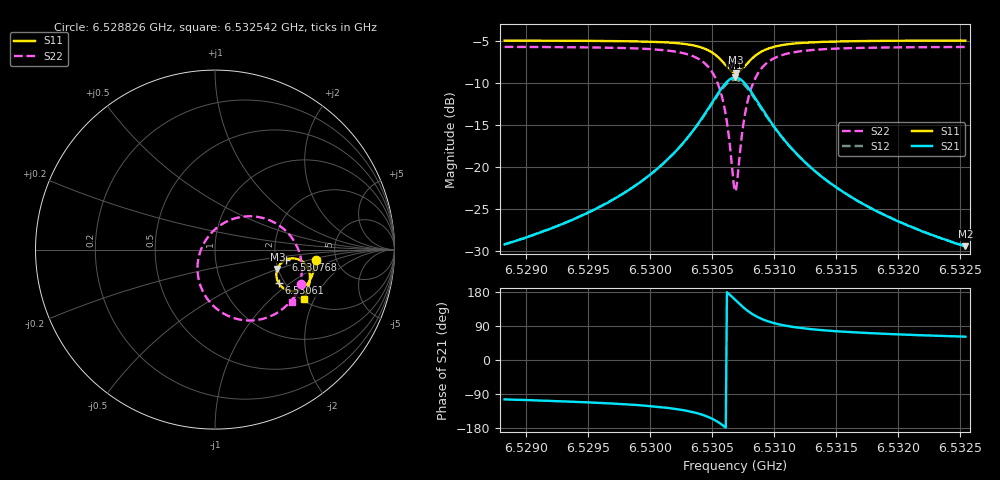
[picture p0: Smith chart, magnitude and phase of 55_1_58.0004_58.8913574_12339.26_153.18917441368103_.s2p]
#  HZ  S  RI  R  50.00
! Rohde & Schwarz Vector Network Analyzer
! Rohde-Schwarz,ZNB20-2Port,1311601062101988,3.16
! Created: UTC 3/21/2024, 12:52:44 AM
! freq[Hz]  re:S11  im:S11  re:S21  im:S21  re:S12  im:S12  re:S22  im:S22
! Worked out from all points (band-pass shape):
!   401 points, 6.528826 GHz to 6.532542 GHz, reference 50 ohm
!   highest |S21| = -9.36 dB at 6.530684 GHz (marker M1); lowest = -29.5 dB at 6.532542 GHz (marker M2)
!   |S21| within 3 dB of the highest: 6.5305 GHz to 6.530871 GHz (371.7 kHz wide, 0.00569 % of centre)
!   lowest |S11| = -8.8 dB at 6.530694 GHz (marker M3), VSWR 2.14, Z = 99.3 - j24.6 ohm
!   |S11| at or under -10 dB: nowhere
!   |S22| runs from -22.9 to -5.7 dB; largest |S21 - S12| = 0.015
!   S11 on the Smith chart (normalised r, x): 6.528826 GHz: 3.47, -0.59; 6.53061 GHz: 1.86, -0.83; 6.530768 GHz: 2.29, -0.31; 6.532542 GHz: 2.06, -1.66
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6.528826e9  0.5607 -0.0584  -0.00826 -0.0335  -0.0091 -0.0333  0.4816 -0.1895
6.5294485e9  0.5512 -0.1121  -0.0184 -0.0478  -0.0197 -0.0474  0.449 -0.2514
6.529783e9  0.5406 -0.1451  -0.0311 -0.062  -0.0327 -0.0612  0.416 -0.2944
6.530071e9  0.5236 -0.1791  -0.0553 -0.0824  -0.0576 -0.0808  0.3611 -0.3426
6.530294e9  0.4935 -0.2111  -0.1018 -0.1055  -0.105 -0.1018  0.2675 -0.3856
6.5304519e9  0.4444 -0.2305  -0.1805 -0.1121  -0.1831 -0.104  0.1231 -0.3865
6.5305449e9  0.3935 -0.2217  -0.2599 -0.0787  -0.2583 -0.0672  -0.00837 -0.3141
6.530582e9  0.3705 -0.206  -0.2942 -0.0444  -0.2893 -0.0325  -0.0591 -0.2491
6.5306099e9  0.3555 -0.1874  -0.3153 -0.00812  -0.3074 0.00346  -0.0865 -0.1839
6.5306378e9  0.345 -0.1633  -0.3277 0.037  -0.3169 0.0465  -0.0979 -0.107
6.5306656e9  0.3419 -0.1355  -0.3269 0.0871  -0.3144 0.0937  -0.0864 -0.025
6.5306842e9  0.3448 -0.1165  -0.3184 0.1206  -0.3052 0.1245  -0.0657 0.0279
6.5306935e9  0.3477 -0.1073  -0.3113 0.1366  -0.2982 0.1393  -0.0515 0.0526
6.5307679e9  0.3967 -0.0562  -0.218 0.2222  -0.2092 0.2185  0.1181 0.176
6.5307957e9  0.4191 -0.0498  -0.1781 0.2326  -0.1715 0.2283  0.1862 0.1858
6.5308329e9  0.4461 -0.0499  -0.1312 0.2325  -0.1269 0.2282  0.2646 0.1768
6.5309258e9  0.4918 -0.0702  -0.0536 0.2013  -0.0518 0.199  0.3913 0.1073
6.5310652e9  0.5198 -0.1078  -0.006 0.1495  -0.00477 0.1487  0.4631 0.00217
6.5313068e9  0.5291 -0.1545  0.015 0.0963  0.0161 0.0959  0.484 -0.1086
6.5316134e9  0.5246 -0.1938  0.0189 0.0638  0.0197 0.0637  0.4745 -0.1832
6.5319293e9  0.5157 -0.2249  0.0182 0.0466  0.019 0.0464  0.4589 -0.2307
6.5325425e9  0.4945 -0.274  0.0161 0.0296  0.0166 0.0293  0.427 -0.2914
